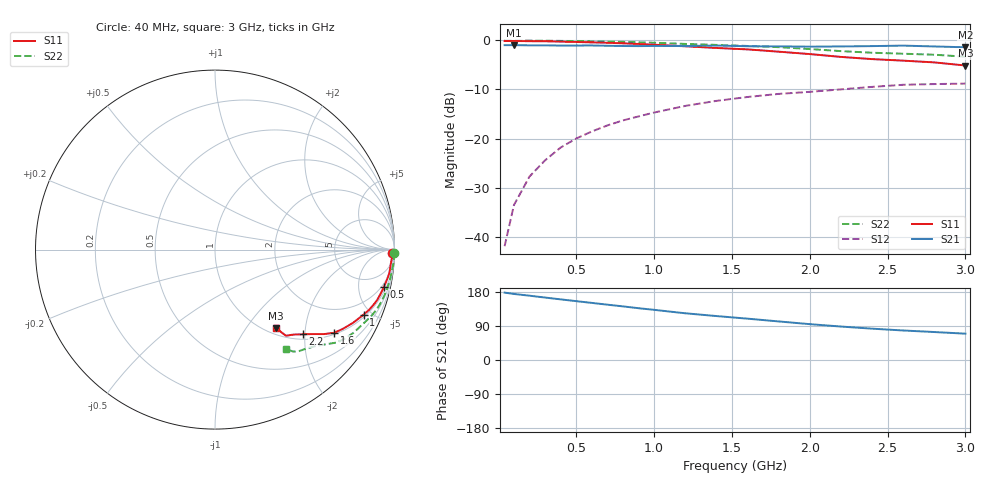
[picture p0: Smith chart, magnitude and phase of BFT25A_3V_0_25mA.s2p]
! Filename:  BFT25AG.S2P  Version:  2.0
! Philips part #: BFT25A  Date: Aug 1990
! Bias condition: Vce=3V, Ic=0.25mA
#  MHz  S  MA  R  50
! Freq  S11  S21  S12  S22  !GUM [dB]
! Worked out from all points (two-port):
!   21 points, 40 MHz to 3 GHz, reference 50 ohm
!   highest |S21| = -0.96 dB at 100 MHz (marker M1); lowest = -1.4 dB at 3 GHz (marker M2)
!   |S21| within 3 dB of the highest: start of sweep to end of sweep
!   lowest |S11| = -5.1 dB at 3 GHz (marker M3), VSWR 3.49, Z = 55.3 - j69.9 ohm
!   |S11| at or under -10 dB: nowhere
!   |S22| runs from -3.3 to 0.0 dB; largest |S21 - S12| = 0.9
!   S11 on the Smith chart (normalised r, x): 40 MHz: 48, -71; 500 MHz: 1.50, -8.88; 1 GHz: 1.14, -4.51; 1.6 GHz: 1.05, -2.83; 2.2 GHz: 1.11, -1.95; 3 GHz: 1.11, -1.40
40  0.987 -1.1  0.895 177.8  0.008 86.0  0.999 -1.0
100  0.987 -2.6  0.895 174.3  0.021 86.6  0.998 -2.5
200  0.982 -5.1  0.891 169.7  0.041 85.2  0.996 -5.0
300  0.98 -7.7  0.891 164.8  0.06 83.4  0.992 -7.4
400  0.972 -10.1  0.886 160.0  0.081 81.5  0.989 -9.9
500  0.964 -12.5  0.887 155.3  0.1 79.7  0.984 -12.3
600  0.955 -14.9  0.888 150.7  0.118 77.7  0.979 -14.6
700  0.946 -17.3  0.882 146.0  0.136 75.9  0.973 -16.8
800  0.934 -19.4  0.877 141.5  0.153 74.1  0.966 -18.9
900  0.92 -21.6  0.875 136.7  0.168 72.2  0.957 -20.9
1000  0.904 -23.6  0.878 132.4  0.184 70.2  0.947 -22.9
1200  0.871 -27.9  0.876 123.3  0.215 66.3  0.921 -27.0
1400  0.838 -31.8  0.887 116.0  0.242 63.0  0.9 -31.0
1600  0.81 -34.9  0.872 109.1  0.265 60.1  0.878 -34.3
1800  0.768 -37.8  0.869 101.8  0.285 57.5  0.854 -37.3
2000  0.726 -40.4  0.864 94.6  0.299 53.9  0.817 -40.1
2200  0.679 -44.0  0.868 88.3  0.317 50.8  0.778 -43.6
2400  0.645 -47.2  0.875 82.7  0.336 48.1  0.749 -47.5
2600  0.622 -50.5  0.885 77.9  0.353 46.2  0.732 -50.9
2800  0.597 -51.1  0.868 73.8  0.359 44.8  0.715 -52.6
3000  0.555 -52.1  0.851 69.5  0.363 43.4  0.682 -54.3
